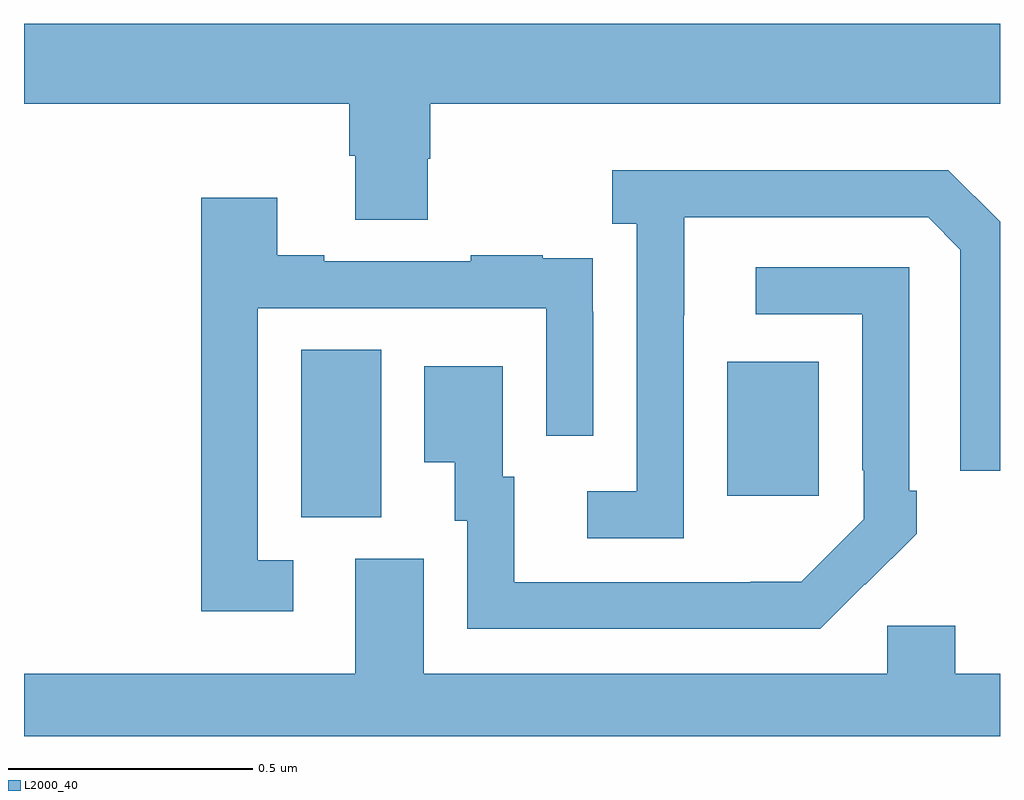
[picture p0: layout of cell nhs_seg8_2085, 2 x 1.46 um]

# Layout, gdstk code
import gdstk
lib = gdstk.Library(unit=1e-6, precision=1e-09)
def R(c, l, rs):  # rectangles x0, y0, x1, y1
    for r in rs: c.add(gdstk.rectangle(r[:2], r[2:], *l))
def P(c, l, *ps):  # polygons
    for p in ps: c.add(gdstk.Polygon(p, *l))
L2000_40 = (2000, 40)

nhs_seg8_2085 = lib.new_cell('nhs_seg8_2085')
R(nhs_seg8_2085, L2000_40, [(139.568,1086.349,139.732,1086.692), (140.441,1086.393,140.629,1086.667)])
P(nhs_seg8_2085, L2000_40, [(139.827,1087.083),(139.832,1087.083),(139.832,1087.196),(141,1087.196),(141,1087.36),(139,1087.36),(139,1087.196),(139.667,1087.196),(139.667,1087.09),(139.679,1087.09),(139.679,1086.958),(139.827,1086.958)],
  [(140.352,1086.763),(140.353,1086.763),(140.353,1086.963),(140.853,1086.963),(140.919,1086.897),(140.919,1086.444),(141,1086.444),(141,1086.954),(140.894,1087.06),(140.205,1087.06),(140.205,1086.95),(140.256,1086.95),(140.256,1086.402),(140.154,1086.402),(140.154,1086.306),(140.352,1086.306)],
  [(139.552,1086.261),(139.479,1086.261),(139.479,1086.777),(140.07,1086.777),(140.07,1086.516),(140.166,1086.516),(140.166,1086.77),(140.165,1086.77),(140.165,1086.879),(140.063,1086.879),(140.063,1086.886),(139.915,1086.886),(139.915,1086.873),(139.615,1086.873),(139.615,1086.886),(139.519,1086.886),(139.519,1087.003),(139.363,1087.003),(139.363,1086.156),(139.552,1086.156)],
  [(140.723,1086.211),(140.724,1086.21),(140.829,1086.315),(140.829,1086.403),(140.814,1086.403),(140.814,1086.861),(140.499,1086.861),(140.499,1086.765),(140.718,1086.765),(140.718,1086.445),(140.721,1086.445),(140.721,1086.345),(140.593,1086.217),(140.489,1086.217),(140.489,1086.216),(140.005,1086.216),(140.005,1086.432),(139.981,1086.432),(139.981,1086.658),(139.82,1086.658),(139.82,1086.461),(139.883,1086.461),(139.883,1086.342),(139.908,1086.342),(139.908,1086.12),(140.632,1086.12)],
  [(141,1086.028),(140.908,1086.028),(140.908,1086.126),(140.769,1086.126),(140.769,1086.028),(139.819,1086.028),(139.819,1086.264),(139.679,1086.264),(139.679,1086.028),(139,1086.028),(139,1085.9),(141,1085.9)])

lib.write_gds('nhs_seg8_2085.gds')
